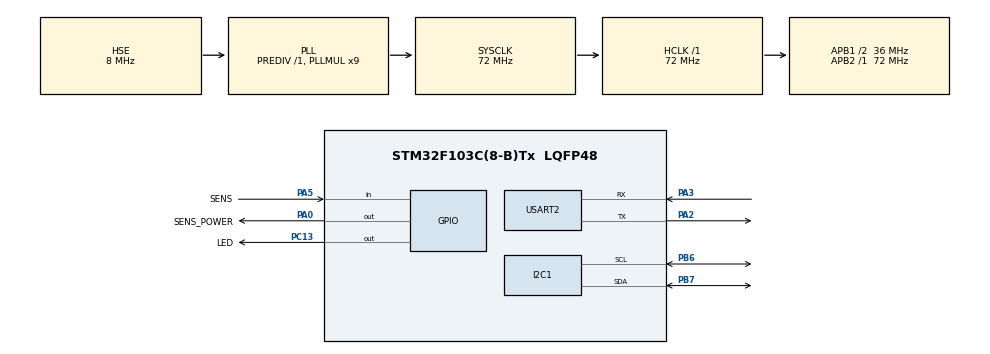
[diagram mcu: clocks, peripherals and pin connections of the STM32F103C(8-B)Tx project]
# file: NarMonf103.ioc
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Dma.I2C1_TX.0.Direction=DMA_MEMORY_TO_PERIPH
Dma.I2C1_TX.0.Instance=DMA1_Channel6
Dma.I2C1_TX.0.MemDataAlignment=DMA_MDATAALIGN_BYTE
Dma.I2C1_TX.0.MemInc=DMA_MINC_ENABLE
Dma.I2C1_TX.0.Mode=DMA_NORMAL
Dma.I2C1_TX.0.PeriphDataAlignment=DMA_PDATAALIGN_BYTE
Dma.I2C1_TX.0.PeriphInc=DMA_PINC_DISABLE
Dma.I2C1_TX.0.Priority=DMA_PRIORITY_LOW
Dma.Request0=I2C1_TX
Dma.Request1=USART2_TX
Dma.USART2_TX.1.Direction=DMA_MEMORY_TO_PERIPH
Dma.USART2_TX.1.Instance=DMA1_Channel7
Dma.USART2_TX.1.MemDataAlignment=DMA_MDATAALIGN_BYTE
Dma.USART2_TX.1.MemInc=DMA_MINC_ENABLE
Dma.USART2_TX.1.Mode=DMA_NORMAL
Dma.USART2_TX.1.PeriphDataAlignment=DMA_PDATAALIGN_BYTE
Dma.USART2_TX.1.PeriphInc=DMA_PINC_DISABLE
Dma.USART2_TX.1.Priority=DMA_PRIORITY_LOW
I2C1.I2C_Mode=I2C_Fast
Mcu.Family=STM32F1
Mcu.Name=STM32F103C(8-B)Tx
Mcu.Package=LQFP48
NVIC.DMA1_Channel6_IRQn=true\:0\:0\:false\:false\:true\:false\:true
NVIC.DMA1_Channel7_IRQn=true\:0\:0\:false\:false\:true\:false\:true
NVIC.PriorityGroup=NVIC_PRIORITYGROUP_4
NVIC.TIM2_IRQn=true\:0\:0\:false\:false\:true\:true\:true
NVIC.USART2_IRQn=true\:0\:0\:false\:false\:true\:true\:true
PA0-WKUP.GPIO_Label=SENS_POWER
PA0-WKUP.Signal=GPIO_Output
PA13.Mode=Serial_Wire
PA13.Signal=SYS_JTMS-SWDIO
PA14.Mode=Serial_Wire
PA14.Signal=SYS_JTCK-SWCLK
PA2.Mode=Asynchronous
PA2.Signal=USART2_TX
PA3.Mode=Asynchronous
PA3.Signal=USART2_RX
PA5.GPIO_Label=SENS
PA5.Signal=GPIO_Input
PB6.Mode=I2C
PB6.Signal=I2C1_SCL
PB7.Mode=I2C
PB7.Signal=I2C1_SDA
PC13-TAMPER-RTC.GPIO_Label=LED
PC13-TAMPER-RTC.Signal=GPIO_Output
PD0-OSC_IN.Mode=HSE-External-Oscillator
PD0-OSC_IN.Signal=RCC_OSC_IN
PD1-OSC_OUT.Mode=HSE-External-Oscillator
PD1-OSC_OUT.Signal=RCC_OSC_OUT
ProjectManager.HeapSize=0x400
ProjectManager.StackSize=0x800
ProjectManager.TargetToolchain=SW4STM32
RCC.AHBFreq_Value=72000000
RCC.APB1CLKDivider=RCC_HCLK_DIV2
RCC.APB1Freq_Value=36000000
RCC.APB1TimFreq_Value=72000000
RCC.APB2Freq_Value=72000000
RCC.APB2TimFreq_Value=72000000
RCC.HCLKFreq_Value=72000000
RCC.PLLMUL=RCC_PLL_MUL9
RCC.PLLSourceVirtual=RCC_PLLSOURCE_HSE
RCC.SYSCLKFreq_VALUE=72000000
RCC.SYSCLKSource=RCC_SYSCLKSOURCE_PLLCLK
RCC.USBFreq_Value=72000000
RTC.Format=RTC_FORMAT_BIN
TIM2.Period=1000
TIM2.Prescaler=719
TIM3.Prescaler=71
USART2.VirtualMode=VM_ASYNC
VP_RTC_VS_RTC_Activate.Mode=RTC_Enabled
VP_RTC_VS_RTC_Calendar.Mode=RTC_Calendar
VP_TIM2_VS_ClockSourceINT.Mode=Internal
VP_TIM3_VS_ClockSourceINT.Mode=Internal
board=custom

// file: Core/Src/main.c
/* USER CODE BEGIN Header */
/**
 ******************************************************************************
 * @file           : main.c
 * @brief          : Main program body
 ******************************************************************************
 * @attention
 *
 * <h2><center>&copy; Copyright (c) 2021 STMicroelectronics.
 * All rights reserved.</center></h2>
 *
 * This software component is licensed by ST under BSD 3-Clause license,
 * the "License"; You may not use this file except in compliance with the
 * License. You may obtain a copy of the License at:
 *                        opensource.org/licenses/BSD-3-Clause
 *
 ******************************************************************************
 */
/* USER CODE END Header */
#include "main.h"
#include "dma.h"
#include "i2c.h"
#include "rtc.h"
#include "tim.h"
#include "usart.h"
#include "gpio.h"

/* USER CODE BEGIN Includes */
#include "stdio.h"
#include "string.h"
//#include "stdlib.h"
#include "math.h"
#include "stdlib.h"
#include "stdbool.h"
#include "ds18b20.h"
#include "gfx.h"
#include "oled.h"
#include "fonts.h"

/* USER CODE END Includes */

/* USER CODE BEGIN PD */
#define ZAMERS 126
#define RXBUFFLEN 32
/* USER CODE END PD */

/* USER CODE BEGIN PV */
volatile uint32_t ledCounter = 0;
volatile uint32_t screenCounter = 0;
volatile bool f_updTemperat = true;
volatile bool f_nextScreen = false;
volatile uint8_t f_graph = 2;
volatile bool f_second_start = true;
volatile bool f_firsStart = false;
volatile bool f_startChecksum = false;
volatile uint8_t checksum = 0;

static bool f_RX = false;
static bool f_temperValid = false;
static float FifoTemperOf24H[ZAMERS];		 //температура
static int measureTemperat = 0;
static float maxTemper = -100.0, minTemper = 200.0;
volatile static uint32_t lastMeasurTime = 0;
extern Ds18b20Sensor_t ds18b20[_DS18B20_MAX_SENSORS];
char strokeLCD[70] =
{ 0 };
char strokeTo8266[16] =
{ 0 };
char daysOfTheWeek[7][10] =
{ "Sunday", "Monday", "Tuesday", "Wednesday", "Thursday", "Friday", "Saturday" };
char mounts[12][4] =
{ "jan", "feb", "mar", "apr", "jun", "jul", "aug", "sep", "oct", "nov", "dec" };

volatile int RXindex = 0;
uint8_t RX;
union
{
	uint8_t RXbuff90[RXBUFFLEN];
} data;

/* USER CODE END PV */

void SystemClock_Config(void);
/* USER CODE BEGIN PFP */
void init();
void searchEXTR();
void getTemperat();
void lcdGraph();
void time_lcd();
void lcdTemperat();
char *ftoa(float f);
void sendTemper();
void esp8266_usartRX();

/* USER CODE END PFP */

/* USER CODE BEGIN 0 */
float map(float x, float in_min, float in_max, float out_min, float out_max)
{
	return (x - in_min) * (out_max - out_min) / (in_max - in_min) + out_min;
}

struct
{
	RTC_DateTypeDef DATE;
	RTC_TimeTypeDef TIME;
	bool f_setTime;
} TIME_DATE =
{ 0 };

/* USER CODE END 0 */

int main(void)
{

  /* MCU Configuration--------------------------------------------------------*/

  /* Reset of all peripherals, Initializes the Flash interface and the Systick. */
  HAL_Init();

  /* Configure the system clock */
  SystemClock_Config();

  /* Initialize all configured peripherals */
  MX_GPIO_Init();
  MX_DMA_Init();
  MX_I2C1_Init();
  MX_RTC_Init();
  MX_TIM3_Init();
  MX_TIM2_Init();
  MX_USART2_UART_Init();
  /* USER CODE BEGIN 2 */
	HAL_GPIO_WritePin(SENS_POWER_GPIO_Port, SENS_POWER_Pin, SET);
	oled_init();
	Ds18b20_Init();
	init();
	HAL_GPIO_TogglePin(LED_GPIO_Port, LED_Pin);

  /* USER CODE END 2 */

  /* Infinite loop */
  /* USER CODE BEGIN WHILE */
	while (1)
	{
		if (f_updTemperat)
		{
			getTemperat();
			sendTemper();
			f_updTemperat = false;
		}

		if (f_nextScreen && !f_second_start)
		{
			if (f_graph == 1)
			{
				lcdGraph();
				f_graph = 2;
				f_nextScreen = false;
			}
			else if (f_graph == 2)
			{
				lcdTemperat();
				f_graph = 3;
				f_nextScreen = false;
			}
			else if (f_graph == 3)
			{
				time_lcd();
				f_graph = 1;  ///////// ----------------  2
				f_nextScreen = false;
			}
		}
    /* USER CODE END WHILE */

	}
}

void SystemClock_Config(void)
{
  RCC_OscInitTypeDef RCC_OscInitStruct = {0};
  RCC_ClkInitTypeDef RCC_ClkInitStruct = {0};
  RCC_PeriphCLKInitTypeDef PeriphClkInit = {0};

  /** Initializes the RCC Oscillators according to the specified parameters
  * in the RCC_OscInitTypeDef structure.
  */
  RCC_OscInitStruct.OscillatorType = RCC_OSCILLATORTYPE_LSI|RCC_OSCILLATORTYPE_HSE;
  RCC_OscInitStruct.HSEState = RCC_HSE_ON;
  RCC_OscInitStruct.HSEPredivValue = RCC_HSE_PREDIV_DIV1;
  RCC_OscInitStruct.HSIState = RCC_HSI_ON;
  RCC_OscInitStruct.LSIState = RCC_LSI_ON;
  RCC_OscInitStruct.PLL.PLLState = RCC_PLL_ON;
  RCC_OscInitStruct.PLL.PLLSource = RCC_PLLSOURCE_HSE;
  RCC_OscInitStruct.PLL.PLLMUL = RCC_PLL_MUL9;
  if (HAL_RCC_OscConfig(&RCC_OscInitStruct) != HAL_OK)
  {
    Error_Handler();
  }
  /** Initializes the CPU, AHB and APB buses clocks
  */
  RCC_ClkInitStruct.ClockType = RCC_CLOCKTYPE_HCLK|RCC_CLOCKTYPE_SYSCLK
                              |RCC_CLOCKTYPE_PCLK1|RCC_CLOCKTYPE_PCLK2;
  RCC_ClkInitStruct.SYSCLKSource = RCC_SYSCLKSOURCE_PLLCLK;
  RCC_ClkInitStruct.AHBCLKDivider = RCC_SYSCLK_DIV1;
  RCC_ClkInitStruct.APB1CLKDivider = RCC_HCLK_DIV2;
  RCC_ClkInitStruct.APB2CLKDivider = RCC_HCLK_DIV1;

  if (HAL_RCC_ClockConfig(&RCC_ClkInitStruct, FLASH_LATENCY_2) != HAL_OK)
  {
    Error_Handler();
  }
  PeriphClkInit.PeriphClockSelection = RCC_PERIPHCLK_RTC;
  PeriphClkInit.RTCClockSelection = RCC_RTCCLKSOURCE_LSI;
  if (HAL_RCCEx_PeriphCLKConfig(&PeriphClkInit) != HAL_OK)
  {
    Error_Handler();
  }
}

/* USER CODE BEGIN 4 */
void init()
{
	HAL_TIM_Base_Start_IT(&htim2);
	HAL_UART_Receive_IT(&huart2, &RX, 1);

}
void HAL_UART_RxCpltCallback(UART_HandleTypeDef *huart)
{
	if (huart == &huart2)
		esp8266_usartRX();
}
void HAL_TIM_PeriodElapsedCallback(TIM_HandleTypeDef *htim)
//------------------------------------------------------------------------------------------------
{
	if (htim == &htim2)
	{
		//ledCounter++;
		if (ledCounter++ >= 300)
		{
			HAL_GPIO_TogglePin(LED_GPIO_Port, LED_Pin);
			f_updTemperat = true;
			ledCounter = 0;
		}

		if (screenCounter++ == 250)
		{
			f_nextScreen = true;
			screenCounter = 0;
		}

		if (lastMeasurTime++ > 68572)  //68572при 100в сек //685714 1000в сек
		{
			lastMeasurTime = 0;
			if (measureTemperat++ == (ZAMERS - 1))
				measureTemperat = 0;
		}
	}
}
//------------------------------------------------------------------------------------------------
void lcdTemperat()
{
	searchEXTR();
	clear();
	graphics_text(0, 0, FONT_NINE_DOT, "MAX: ");
	memset(data.RXbuff90, 0, sizeof(data.RXbuff90));
	graphics_text(63, 0, FONT_NINE_DOT, ftoa(maxTemper));
	graphics_text(0, 11, FONT_NINE_DOT, "MIN: ");
	memset(data.RXbuff90, 0, sizeof(data.RXbuff90));
	graphics_text(63, 11, FONT_NINE_DOT, ftoa(minTemper));
	graphics_text(0, 22, FONT_NINE_DOT, "CURR: ");
	memset(data.RXbuff90, 0, sizeof(data.RXbuff90));
	graphics_text(63, 22, FONT_NINE_DOT, ftoa(FifoTemperOf24H[measureTemperat]));
	oled_update();
}
//------------------------------------------------------------------------------------------------
void time_lcd()
{
	clear();
	uint32_t a = HAL_GetTick();
	static uint32_t hours = 0, min = 0, sec = 0;
	do
	{
		if (a >= 3600000)
		{
			hours++;
			a -= 3600000;
			continue;
		}
		else if (a >= 60000)
		{
			min++;
			a -= 60000;
			continue;
		}/*  в жопу секунды
		 else if (a >= 1000)
		 {
		 sec++;
		 a -= 1000;
		 continue;
		 }
		 */
	} while (a >= 60000);

	memset(strokeLCD, 0, sizeof strokeLCD);
	sprintf(strokeLCD, "%s%u%c%u", "Uptime: ", hours, ':', min);
	hours = min = sec = 0;

	graphics_text(0, 0, FONT_NINE_DOT, strokeLCD);
	oled_update();

	if (TIME_DATE.f_setTime)
	{
		HAL_RTC_GetDate(&hrtc, &TIME_DATE.DATE, RTC_FORMAT_BIN);
		HAL_RTC_GetTime(&hrtc, &TIME_DATE.TIME, RTC_FORMAT_BIN);
		graphics_text(0, 11, FONT_NINE_DOT, daysOfTheWeek[TIME_DATE.DATE.WeekDay]);

		memset(strokeLCD, 0, sizeof strokeLCD);
		sprintf(strokeLCD, "%u%c%s%c%u", TIME_DATE.DATE.Date, ':', mounts[TIME_DATE.DATE.Month-1], ':',	TIME_DATE.DATE.Year+2000);
 		graphics_text(0, 22, FONT_NINE_DOT, strokeLCD);
		oled_update();
	}
}
//------------------------------------------------------------------------------------------------
void set_time()
{
	uint8_t mountday = 0;
	if(sscanf(data.RXbuff90+1, "%u;%u;%u;%u;%u;%u;%u;%u", &TIME_DATE.DATE.WeekDay, &mountday, &TIME_DATE.DATE.Month, &TIME_DATE.DATE.Year, &TIME_DATE.TIME.Hours, &TIME_DATE.TIME.Minutes, &TIME_DATE.TIME.Seconds)> 1)
	{
		TIME_DATE.DATE.Date = mountday;
		HAL_RTC_SetDate(&hrtc, &TIME_DATE.DATE, RTC_FORMAT_BIN);
		HAL_RTC_SetTime(&hrtc, &TIME_DATE.TIME, RTC_FORMAT_BIN);
		TIME_DATE.f_setTime = true;
	}
}
//------------------------------------------------------------------------------------------------
void sendTemper()
{
	f_temperValid = 1;
	if(f_temperValid)
	{
		memset(strokeTo8266, 0, sizeof(strokeTo8266));
		sprintf(strokeTo8266, "%c%s%c", '$', ftoa(FifoTemperOf24H[measureTemperat]), '\n');
		//HAL_UART_Transmit(&huart2, (uint8_t*) strokeTo8266, sizeof(strokeTo8266), 10);
		HAL_UART_Transmit_DMA(&huart2, (uint8_t*)strokeTo8266, sizeof(strokeTo8266));
		f_temperValid = false;
	}
}
//------------------------------------------------------------------------------------------------
void esp8266_usartRX()
{
	if (RX == '$' || f_RX)
	{
		f_RX = true;
		data.RXbuff90[RXindex++] = RX;

		if (RXindex == (RXBUFFLEN - 1) && data.RXbuff90[RXindex - 1] != '\n')
		{
			f_RX = false;
			RXindex = 0;
		}
		/*
		 if (RXindex <= (RXBUFFLEN - 1) || data.RXbuff90[RXindex - 1] != '\n')
		 {
		 if (data.RXbuff90[RXindex - 2] == '$' && data.RXbuff90[RXindex - 1] != '$')
		 f_startChecksum = true;

		 if (f_startChecksum && data.RXbuff90[RXindex - 1] != '*')
		 checksum ^= RX;
		 else
		 f_startChecksum = false;
		 }

		 else
		 {
		 f_RX = false;
		 RXindex = 0;
		 if (data.dataRAW.crc == checksum)
		 {
		 set_time();
		 checksum = 0;
		 memset(data.RXbuff90, 0, sizeof(data.RXbuff90));
		 }
		 }*/

		else if (data.RXbuff90[RXindex - 1] == '\n')
		{
			set_time();
			memset(data.RXbuff90, 0, sizeof(data.RXbuff90));
		}

	}
	HAL_UART_Receive_IT(&huart2, &RX, 1);
}

//------------------------------------------------------------------------------------------------
void lcdGraph()
{
	clear();
	line_v(0, 31, 0, 1, add);
	line_v(0, 31, 127, 1, add);
	line_h(0, 127, 0, 1, add);
	line_h(0, 127, 31, 1, add);

	if (minTemper <= 0)
	{
		uint8_t Y = (uint8_t) round(map(0.0, minTemper, maxTemper, 30.0, 1.0));
		line_h(1, 126, Y, 1, add);
	}
	if (maxTemper == minTemper)
	{
		line_h(1, 126, 16, 1, add);
	}
	else
	{
		static int last_y;
		static int yy;
		for (int i = measureTemperat, idxLCDbuff = ZAMERS + 1; idxLCDbuff > 0; idxLCDbuff--, i--) //!
		{
			if (i < 0)
				i = ZAMERS;
			float a = map(FifoTemperOf24H[i], minTemper, maxTemper, 29.0, 2.0);
			uint8_t y = (uint8_t) round((double) a);

			if (idxLCDbuff < ZAMERS + 1)
			{
				yy = last_y - y;
				yy = abs(yy);
				if (yy != 0)
				{
					for (; yy > 0; yy--)
						if (last_y > y)
						{
							draw_pixel(idxLCDbuff, last_y - yy, add);
						}
						else
						{
							draw_pixel(idxLCDbuff, last_y + yy, add);
						}
				}
			}
			last_y = y;
			draw_pixel(idxLCDbuff, y, add);
		}
	}
	oled_update();
}
//------------------------------------------------------------------------------------------------
void getTemperat()
{
	Ds18b20_ManualConvert();
	if (f_firsStart)
	{
		f_firsStart = false;
		f_second_start = true;
	}
	else if (f_second_start)
	{
		FifoTemperOf24H[measureTemperat] = ds18b20[0].Temperature;
		for (int i = 0; i < ZAMERS; i++)
			FifoTemperOf24H[i] = FifoTemperOf24H[measureTemperat];
		f_second_start = false;
	}
	else
		FifoTemperOf24H[measureTemperat] = ds18b20[0].Temperature;

	if(FifoTemperOf24H[measureTemperat]> -40 && FifoTemperOf24H[measureTemperat]<70)
		f_temperValid = true;
}
//------------------------------------------------------------------------------------------------
void searchEXTR()
{
	maxTemper = -100.0;
	minTemper = 200.0;
	for (int q = 0; q < ZAMERS; q++) //находим минимум и максимум
	{
		if (maxTemper < FifoTemperOf24H[q])
			maxTemper = FifoTemperOf24H[q];
		if (minTemper > FifoTemperOf24H[q])
			minTemper = FifoTemperOf24H[q];
	}
}
//------------------------------------------------------------------------------------------------
char *ftoa(float f)
{
	static char buf[10];
	char * cp = buf;
	unsigned long l, rem;

	if (f < 0)
	{
		*cp++ = '-';
		f = -f;
	}
	l = (unsigned long) f;
	f -= (float) l;
	rem = (unsigned long) (f * 1e1);
	sprintf(cp, "%lu.%1.1lu", l, rem);
	return buf;
}
//------------------------------------------------------------------------------------------------

/* USER CODE END 4 */

void Error_Handler(void)
{
	__disable_irq();
	while (1)
	{
	}
}

/************************ (C) COPYRIGHT STMicroelectronics *****END OF FILE****/
